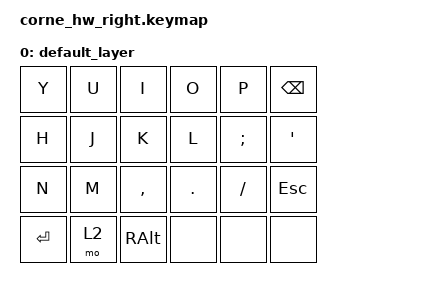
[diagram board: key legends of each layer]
#include <behaviors.dtsi>
#include <dt-bindings/zmk/keys.h>

/ {
    keymap {
        compatible = "zmk,keymap";

        default_layer {
            bindings = <
                /* Row 0 */
                &kp Y     &kp U     &kp I     &kp O      &kp P      &kp BSPC

                /* Row 1 */
                &kp H     &kp J     &kp K     &kp L      &kp SEMI   &kp SQT

                /* Row 2 */
                &kp N     &kp M     &kp COMMA &kp DOT    &kp SLASH  &kp ESC

                /* Row 3 (thumb cluster on right half) */
                &kp ENTER &mo 2     &kp RALT  &none      &none      &none
            >;
        };
    };
};
